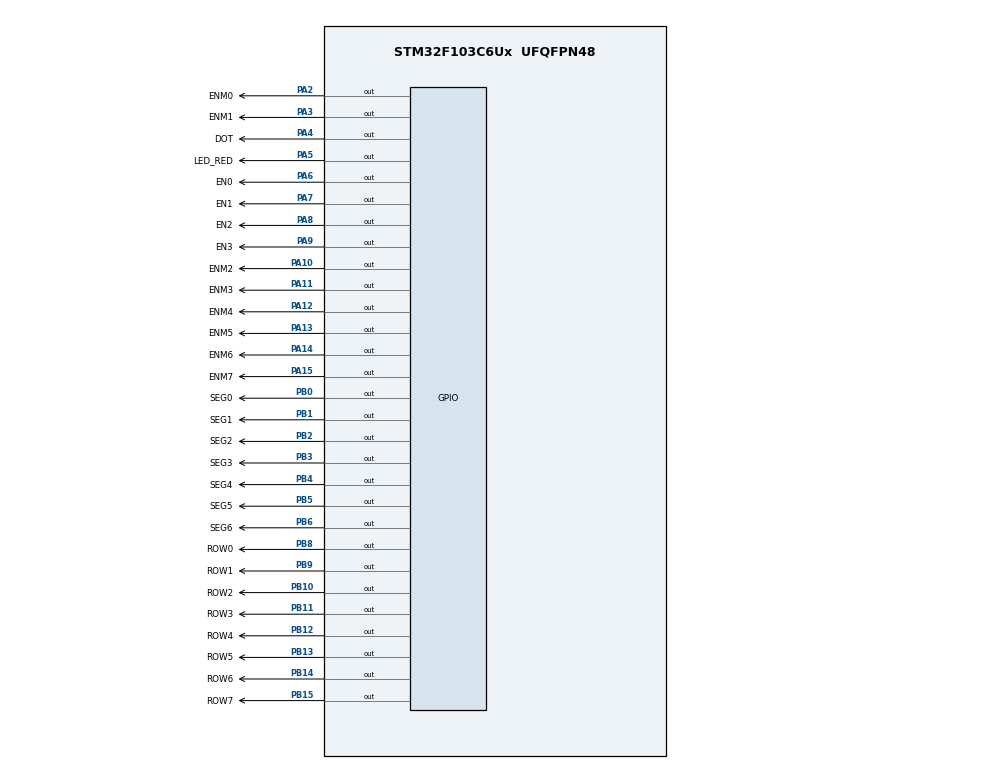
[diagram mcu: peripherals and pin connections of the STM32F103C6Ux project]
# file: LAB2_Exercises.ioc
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Mcu.Family=STM32F1
Mcu.Name=STM32F103C6Ux
Mcu.Package=UFQFPN48
NVIC.PriorityGroup=NVIC_PRIORITYGROUP_4
NVIC.TIM2_IRQn=true\:0\:0\:false\:false\:true\:true\:true
PA10.GPIO_Label=ENM2
PA10.Signal=GPIO_Output
PA11.GPIO_Label=ENM3
PA11.Signal=GPIO_Output
PA12.GPIO_Label=ENM4
PA12.Signal=GPIO_Output
PA13.GPIO_Label=ENM5
PA13.Signal=GPIO_Output
PA14.GPIO_Label=ENM6
PA14.Signal=GPIO_Output
PA15.GPIO_Label=ENM7
PA15.Signal=GPIO_Output
PA2.GPIO_Label=ENM0
PA2.Signal=GPIO_Output
PA3.GPIO_Label=ENM1
PA3.Signal=GPIO_Output
PA4.GPIO_Label=DOT
PA4.Signal=GPIO_Output
PA5.GPIO_Label=LED_RED
PA5.Signal=GPIO_Output
PA6.GPIO_Label=EN0
PA6.Signal=GPIO_Output
PA7.GPIO_Label=EN1
PA7.Signal=GPIO_Output
PA8.GPIO_Label=EN2
PA8.Signal=GPIO_Output
PA9.GPIO_Label=EN3
PA9.Signal=GPIO_Output
PB0.GPIO_Label=SEG0
PB0.Signal=GPIO_Output
PB1.GPIO_Label=SEG1
PB1.Signal=GPIO_Output
PB10.GPIO_Label=ROW2
PB10.Signal=GPIO_Output
PB11.GPIO_Label=ROW3
PB11.Signal=GPIO_Output
PB12.GPIO_Label=ROW4
PB12.Signal=GPIO_Output
PB13.GPIO_Label=ROW5
PB13.Signal=GPIO_Output
PB14.GPIO_Label=ROW6
PB14.Signal=GPIO_Output
PB15.GPIO_Label=ROW7
PB15.Signal=GPIO_Output
PB2.GPIO_Label=SEG2
PB2.Signal=GPIO_Output
PB3.GPIO_Label=SEG3
PB3.Signal=GPIO_Output
PB4.GPIO_Label=SEG4
PB4.Signal=GPIO_Output
PB5.GPIO_Label=SEG5
PB5.Signal=GPIO_Output
PB6.GPIO_Label=SEG6
PB6.Signal=GPIO_Output
PB8.GPIO_Label=ROW0
PB8.Signal=GPIO_Output
PB9.GPIO_Label=ROW1
PB9.Signal=GPIO_Output
ProjectManager.HeapSize=0x200
ProjectManager.StackSize=0x400
ProjectManager.TargetToolchain=STM32CubeIDE
RCC.APB1Freq_Value=8000000
RCC.APB2Freq_Value=8000000
TIM2.Period=9
TIM2.Prescaler=7999
VP_SYS_VS_ND.Mode=No_Debug
VP_TIM2_VS_ClockSourceINT.Mode=Internal
board=custom

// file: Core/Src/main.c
/* USER CODE BEGIN Header */
/**
  ******************************************************************************
  * @file           : main.c
  * @brief          : Main program body
  ******************************************************************************
  * @attention
  *
  * <h2><center>&copy; Copyright (c) 2024 STMicroelectronics.
  * All rights reserved.</center></h2>
  *
  * This software component is licensed by ST under BSD 3-Clause license,
  * the "License"; You may not use this file except in compliance with the
  * License. You may obtain a copy of the License at:
  *                        opensource.org/licenses/BSD-3-Clause
  *
  ******************************************************************************
  */
/* USER CODE END Header */
#include "main.h"

/* USER CODE BEGIN Includes */
#include "hamPhu.h"
#include "software_timer.h"
/* USER CODE END Includes */

TIM_HandleTypeDef htim2;

void SystemClock_Config(void);
static void MX_GPIO_Init(void);
static void MX_TIM2_Init(void);

int main(void)
{

  /* MCU Configuration--------------------------------------------------------*/

  /* Reset of all peripherals, Initializes the Flash interface and the Systick. */
  HAL_Init();

  /* Configure the system clock */
  SystemClock_Config();

  /* Initialize all configured peripherals */
  MX_GPIO_Init();
  MX_TIM2_Init();
  /* USER CODE BEGIN 2 */
  HAL_TIM_Base_Start_IT (& htim2 );
  /* USER CODE END 2 */

  /* Infinite loop */
  /* USER CODE BEGIN WHILE */
  setTimerDot(100);
  setTimer(0, 25);
  int index = 0;
  while (1)
  {
	  if(timerDot_flag == 1){
		  HAL_GPIO_TogglePin(DOT_GPIO_Port, DOT_Pin);
		  if(1){
			  setTimerDot(100);
		  }
	  }
	  if(timer_flag[0] == 1){
		  if(index > 3) index = 0;
		  update7SEG(index++);
		  if(1){
			  setTimer(0, 25);
		  }
	  }
    /* USER CODE END WHILE */

  }
}

void SystemClock_Config(void)
{
  RCC_OscInitTypeDef RCC_OscInitStruct = {0};
  RCC_ClkInitTypeDef RCC_ClkInitStruct = {0};

  /** Initializes the RCC Oscillators according to the specified parameters
  * in the RCC_OscInitTypeDef structure.
  */
  RCC_OscInitStruct.OscillatorType = RCC_OSCILLATORTYPE_HSI;
  RCC_OscInitStruct.HSIState = RCC_HSI_ON;
  RCC_OscInitStruct.HSICalibrationValue = RCC_HSICALIBRATION_DEFAULT;
  RCC_OscInitStruct.PLL.PLLState = RCC_PLL_NONE;
  if (HAL_RCC_OscConfig(&RCC_OscInitStruct) != HAL_OK)
  {
    Error_Handler();
  }
  /** Initializes the CPU, AHB and APB buses clocks
  */
  RCC_ClkInitStruct.ClockType = RCC_CLOCKTYPE_HCLK|RCC_CLOCKTYPE_SYSCLK
                              |RCC_CLOCKTYPE_PCLK1|RCC_CLOCKTYPE_PCLK2;
  RCC_ClkInitStruct.SYSCLKSource = RCC_SYSCLKSOURCE_HSI;
  RCC_ClkInitStruct.AHBCLKDivider = RCC_SYSCLK_DIV1;
  RCC_ClkInitStruct.APB1CLKDivider = RCC_HCLK_DIV1;
  RCC_ClkInitStruct.APB2CLKDivider = RCC_HCLK_DIV1;

  if (HAL_RCC_ClockConfig(&RCC_ClkInitStruct, FLASH_LATENCY_0) != HAL_OK)
  {
    Error_Handler();
  }
}

static void MX_TIM2_Init(void)
{

  TIM_ClockConfigTypeDef sClockSourceConfig = {0};
  TIM_MasterConfigTypeDef sMasterConfig = {0};

  htim2.Instance = TIM2;
  htim2.Init.Prescaler = 7999;
  htim2.Init.CounterMode = TIM_COUNTERMODE_UP;
  htim2.Init.Period = 9;
  htim2.Init.ClockDivision = TIM_CLOCKDIVISION_DIV1;
  htim2.Init.AutoReloadPreload = TIM_AUTORELOAD_PRELOAD_DISABLE;
  if (HAL_TIM_Base_Init(&htim2) != HAL_OK)
  {
    Error_Handler();
  }
  sClockSourceConfig.ClockSource = TIM_CLOCKSOURCE_INTERNAL;
  if (HAL_TIM_ConfigClockSource(&htim2, &sClockSourceConfig) != HAL_OK)
  {
    Error_Handler();
  }
  sMasterConfig.MasterOutputTrigger = TIM_TRGO_RESET;
  sMasterConfig.MasterSlaveMode = TIM_MASTERSLAVEMODE_DISABLE;
  if (HAL_TIMEx_MasterConfigSynchronization(&htim2, &sMasterConfig) != HAL_OK)
  {
    Error_Handler();
  }

}

static void MX_GPIO_Init(void)
{
  GPIO_InitTypeDef GPIO_InitStruct = {0};

  /* GPIO Ports Clock Enable */
  __HAL_RCC_GPIOA_CLK_ENABLE();
  __HAL_RCC_GPIOB_CLK_ENABLE();

  /*Configure GPIO pin Output Level */
  HAL_GPIO_WritePin(GPIOA, DOT_Pin|LED_RED_Pin|EN0_Pin|EN1_Pin
                          |EN2_Pin|EN3_Pin, GPIO_PIN_RESET);

  /*Configure GPIO pin Output Level */
  HAL_GPIO_WritePin(GPIOB, SEG0_Pin|SEG1_Pin|SEG2_Pin|SEG3_Pin
                          |SEG4_Pin|SEG5_Pin|SEG6_Pin, GPIO_PIN_RESET);

  /*Configure GPIO pins : DOT_Pin LED_RED_Pin EN0_Pin EN1_Pin
                           EN2_Pin EN3_Pin */
  GPIO_InitStruct.Pin = DOT_Pin|LED_RED_Pin|EN0_Pin|EN1_Pin
                          |EN2_Pin|EN3_Pin;
  GPIO_InitStruct.Mode = GPIO_MODE_OUTPUT_PP;
  GPIO_InitStruct.Pull = GPIO_NOPULL;
  GPIO_InitStruct.Speed = GPIO_SPEED_FREQ_LOW;
  HAL_GPIO_Init(GPIOA, &GPIO_InitStruct);

  /*Configure GPIO pins : SEG0_Pin SEG1_Pin SEG2_Pin SEG3_Pin
                           SEG4_Pin SEG5_Pin SEG6_Pin */
  GPIO_InitStruct.Pin = SEG0_Pin|SEG1_Pin|SEG2_Pin|SEG3_Pin
                          |SEG4_Pin|SEG5_Pin|SEG6_Pin;
  GPIO_InitStruct.Mode = GPIO_MODE_OUTPUT_PP;
  GPIO_InitStruct.Pull = GPIO_NOPULL;
  GPIO_InitStruct.Speed = GPIO_SPEED_FREQ_LOW;
  HAL_GPIO_Init(GPIOB, &GPIO_InitStruct);

}

/* USER CODE BEGIN 4 */
void HAL_TIM_PeriodElapsedCallback ( TIM_HandleTypeDef * htim ){
	timerRun();
}
/* USER CODE END 4 */

void Error_Handler(void)
{
  __disable_irq();
  while (1)
  {
  }
}

/************************ (C) COPYRIGHT STMicroelectronics *****END OF FILE****/
